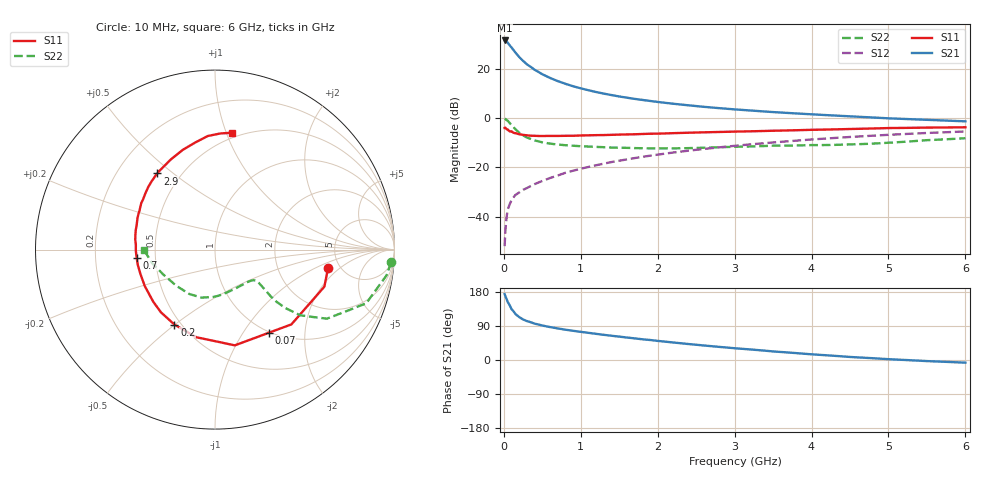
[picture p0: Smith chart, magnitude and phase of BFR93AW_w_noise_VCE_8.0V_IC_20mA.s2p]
! Infineon Technologies  Discrete & RF Semiconductors
! BFR93AW
! VCE =  8.0 V,  IC =  20 mA
! Common Emitter S-Parameters:  Jan 2017
# GHz  S  MA  R  50
!  f  S11  S21  S12  S22
! GHz  MAG  ANG  MAG  ANG  MAG  ANG  MAG  ANG
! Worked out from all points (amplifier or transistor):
!   77 points, 10 MHz to 6 GHz, reference 50 ohm
!   highest |S21| = 31.7 dB at 10 MHz (marker M1)
!   |S21| within 3 dB of that: start of sweep to 103.5 MHz
!   unconditionally stable (mu >= 1): 679.1 MHz to 2.053 GHz
!   at 130 MHz: K = 0.43, MSG = 29.8 dB, |S12| = -32.0 dB
!   at 2.2 GHz: K = 0.99, MSG = 9.9 dB, |S12| = -13.9 dB
!   at 6 GHz: K = 0.86, MSG = 2.1 dB, |S12| = -5.3 dB
!   lowest NFmin = 1.52 dB at 450 MHz
!   S11 on the Smith chart (normalised r, x): 10 MHz: 4.00, -1.41; 70 MHz: 0.99, -1.31; 200 MHz: 0.46, -0.50; 700 MHz: 0.39, -0.04; 2.9 GHz: 0.37, +0.44; 6 GHz: 0.46, +1.05
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0.01  0.6382 -9.4  38.49 173.8  0.0025 81.7  0.9846 -4.1
0.02  0.6434 -18.7  38.44 168.5  0.0051 88.4  0.9668 -8.5
0.05  0.5957 -44.4  34.79 153.1  0.0137 70.2  0.8939 -19.6
0.07  0.5518 -57.1  31.55 146.5  0.0168 66.2  0.8252 -23.9
0.1  0.5448 -78.3  27.7 134.1  0.0216 62.4  0.7326 -31.7
0.15  0.4992 -102.0  21.89 121.6  0.0275 58.1  0.6001 -37.6
0.2  0.4749 -118.5  17.71 113.2  0.031 57.6  0.5104 -39.7
0.25  0.4612 -130.8  14.78 107.0  0.0351 57.6  0.4502 -40.3
0.3  0.4503 -139.8  12.59 102.7  0.0381 57.8  0.4069 -40.0
0.4  0.4409 -152.4  9.744 95.9  0.0458 61.0  0.3551 -38.7
0.5  0.4372 -161.8  7.896 91.0  0.0531 63.0  0.3247 -37.8
0.6  0.4386 -168.8  6.653 86.9  0.061 64.5  0.306 -37.2
0.7  0.4387 -174.1  5.735 83.4  0.0685 66.1  0.2928 -37.0
0.9  0.4418 176.5  4.502 77.1  0.0858 67.5  0.2769 -38.1
1.1  0.4513 169.2  3.73 71.7  0.1025 68.3  0.2668 -40.4
1.5  0.4665 157.7  2.788 61.7  0.1372 67.7  0.252 -47.9
2.1  0.4933 143.1  2.069 48.4  0.1918 64.6  0.2445 -64.6
2.9  0.5322 127.1  1.566 32.9  0.2661 58.6  0.2607 -89.2
3.1  0.5404 123.3  1.483 29.5  0.285 56.8  0.2654 -94.9
4.1  0.5877 106.4  1.185 13.7  0.3802 47.2  0.2856 -123.4
5.1  0.6361 92.4  0.987 1.2  0.47 36.2  0.3253 -157.0
6  0.658 81.7  0.869 -7.1  0.5407 25.9  0.3936 -179.3
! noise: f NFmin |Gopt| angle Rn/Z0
0.45  1.52  0.14  161  0.15
0.9  1.8  0.23  175  0.15
1.9  2.8  0.48  -138  0.23
2.4  3.43  0.54  -126  0.45
